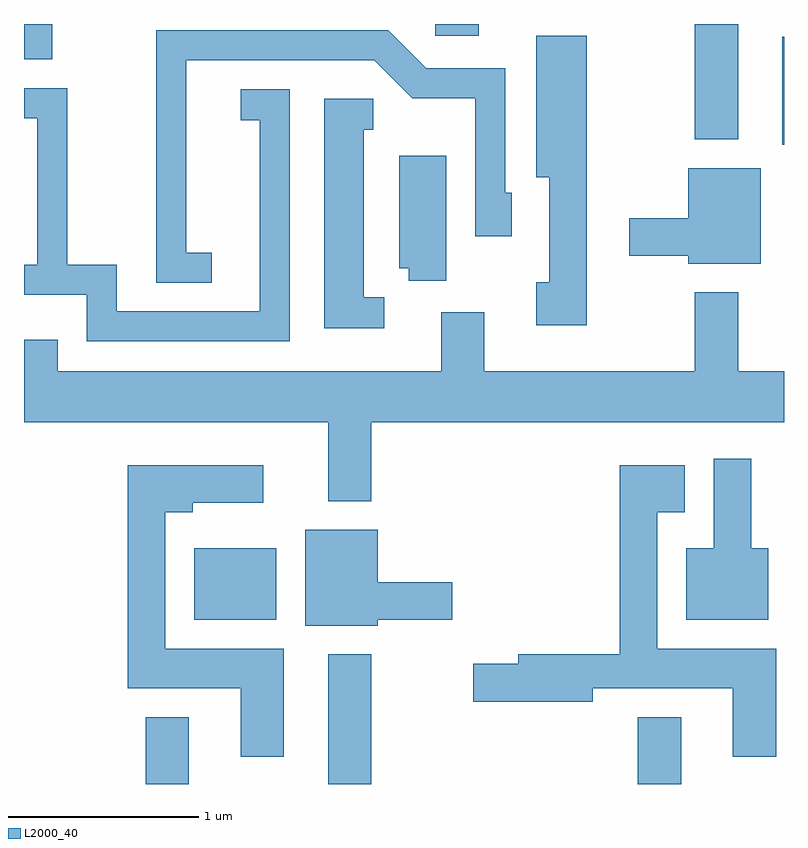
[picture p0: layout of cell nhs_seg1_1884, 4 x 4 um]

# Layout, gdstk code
import gdstk
lib = gdstk.Library(unit=1e-6, precision=1e-09)
def R(c, l, rs):  # rectangles x0, y0, x1, y1
    for r in rs: c.add(gdstk.rectangle(r[:2], r[2:], *l))
def P(c, l, *ps):  # polygons
    for p in ps: c.add(gdstk.Polygon(p, *l))
L2000_40 = (2000, 40)

nhs_seg1_1884 = lib.new_cell('nhs_seg1_1884')
R(nhs_seg1_1884, L2000_40, [(244.251,857.712,244.479,858.064), (245.211,857.712,245.439,858.394), (246.841,857.712,247.069,858.064), (244.506,858.576,244.939,858.954), (247.601,861.076,247.611,861.644), (247.141,861.106,247.369,861.712), (243.611,861.526,243.759,861.712), (245.776,861.651,246.004,861.712)])
P(nhs_seg1_1884, L2000_40, [(244.598,860.509),(244.464,860.509),(244.464,861.521),(245.454,861.521),(245.654,861.321),(245.986,861.321),(245.986,860.596),(246.179,860.596),(246.179,860.824),(246.144,860.824),(246.144,861.479),(245.727,861.479),(245.527,861.679),(244.306,861.679),(244.306,860.351),(244.598,860.351)],
  [(246.574,861.649),(246.306,861.649),(246.306,860.906),(246.376,860.906),(246.376,860.354),(246.306,860.354),(246.306,860.126),(246.574,860.126)],
  [(245.009,861.369),(244.753,861.369),(244.753,861.206),(244.851,861.206),(244.851,860.199),(244.099,860.199),(244.099,860.444),(243.839,860.444),(243.839,861.374),(243.611,861.374),(243.611,861.216),(243.681,861.216),(243.681,860.444),(243.611,860.444),(243.611,860.286),(243.941,860.286),(243.941,860.041),(245.009,860.041)],
  [(245.508,860.274),(245.399,860.274),(245.399,861.156),(245.448,861.156),(245.448,861.319),(245.191,861.319),(245.191,860.111),(245.508,860.111)],
  [(245.834,861.019),(245.586,861.019),(245.586,860.426),(245.636,860.426),(245.636,860.361),(245.834,860.361)],
  [(247.489,860.954),(247.106,860.954),(247.106,860.689),(246.796,860.689),(246.796,860.491),(247.106,860.491),(247.106,860.451),(247.489,860.451)],
  [(245.439,859.616),(247.611,859.616),(247.611,859.884),(247.369,859.884),(247.369,860.299),(247.141,860.299),(247.141,859.884),(246.034,859.884),(246.034,860.194),(245.806,860.194),(245.806,859.884),(243.789,859.884),(243.789,860.049),(243.611,860.049),(243.611,859.616),(245.211,859.616),(245.211,859.201),(245.439,859.201)],
  [(247.529,858.954),(247.439,858.954),(247.439,859.424),(247.241,859.424),(247.241,858.954),(247.096,858.954),(247.096,858.576),(247.529,858.576)],
  [(244.979,858.424),(244.354,858.424),(244.354,859.141),(244.499,859.141),(244.499,859.191),(244.869,859.191),(244.869,859.389),(244.156,859.389),(244.156,858.216),(244.751,858.216),(244.751,857.856),(244.979,857.856)],
  [(247.569,858.424),(246.944,858.424),(246.944,859.141),(247.089,859.141),(247.089,859.389),(246.746,859.389),(246.746,858.394),(246.211,858.394),(246.211,858.344),(245.976,858.344),(245.976,858.146),(246.604,858.146),(246.604,858.216),(247.341,858.216),(247.341,857.856),(247.569,857.856)],
  [(245.474,858.576),(245.864,858.576),(245.864,858.774),(245.474,858.774),(245.474,859.049),(245.091,859.049),(245.091,858.546),(245.474,858.546)])

lib.write_gds('nhs_seg1_1884.gds')
